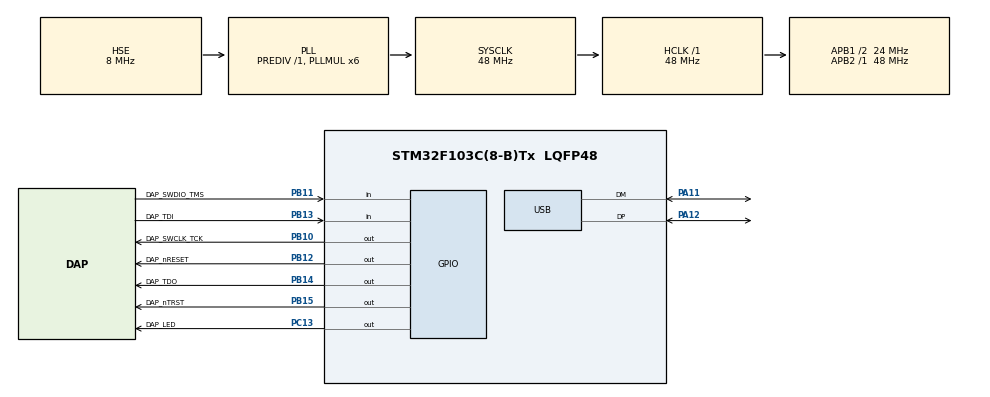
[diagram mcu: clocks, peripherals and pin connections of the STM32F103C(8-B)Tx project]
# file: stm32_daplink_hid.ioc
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Mcu.Family=STM32F1
Mcu.Name=STM32F103C(8-B)Tx
Mcu.Package=LQFP48
NVIC.PriorityGroup=NVIC_PRIORITYGROUP_4
NVIC.USB_LP_CAN1_RX0_IRQn=true\:0\:0\:false\:false\:true\:false\:true
PA11.Mode=Device
PA11.Signal=USB_DM
PA12.Mode=Device
PA12.Signal=USB_DP
PA13.Mode=Serial_Wire
PA13.Signal=SYS_JTMS-SWDIO
PA14.Mode=Serial_Wire
PA14.Signal=SYS_JTCK-SWCLK
PB10.GPIO_Label=DAP_SWCLK_TCK
PB10.Signal=GPIO_Output
PB11.GPIO_Label=DAP_SWDIO_TMS
PB11.Signal=GPIO_Input
PB12.GPIO_Label=DAP_nRESET
PB12.GPIO_ModeDefaultOutputPP=GPIO_MODE_OUTPUT_OD
PB12.Signal=GPIO_Output
PB13.GPIO_Label=DAP_TDI
PB13.Signal=GPIO_Input
PB14.GPIO_Label=DAP_TDO
PB14.Signal=GPIO_Output
PB15.GPIO_Label=DAP_nTRST
PB15.GPIO_ModeDefaultOutputPP=GPIO_MODE_OUTPUT_OD
PB15.Signal=GPIO_Output
PC13-TAMPER-RTC.GPIO_Label=DAP_LED
PC13-TAMPER-RTC.PinState=GPIO_PIN_SET
PC13-TAMPER-RTC.Signal=GPIO_Output
PD0-OSC_IN.Mode=HSE-External-Oscillator
PD0-OSC_IN.Signal=RCC_OSC_IN
PD1-OSC_OUT.Mode=HSE-External-Oscillator
PD1-OSC_OUT.Signal=RCC_OSC_OUT
ProjectManager.HeapSize=0x200
ProjectManager.StackSize=0x400
ProjectManager.TargetToolchain=Makefile
RCC.AHBFreq_Value=48000000
RCC.APB1CLKDivider=RCC_HCLK_DIV2
RCC.APB1Freq_Value=24000000
RCC.APB1TimFreq_Value=48000000
RCC.APB2Freq_Value=48000000
RCC.APB2TimFreq_Value=48000000
RCC.HCLKFreq_Value=48000000
RCC.PLLMUL=RCC_PLL_MUL6
RCC.SYSCLKFreq_VALUE=48000000
RCC.SYSCLKSource=RCC_SYSCLKSOURCE_PLLCLK
RCC.USBFreq_Value=48000000
USB_DEVICE.CLASS_NAME_FS=CUSTOM_HID
USB_DEVICE.VirtualMode=CustomHid
USB_DEVICE.VirtualModeFS=Custom_Hid_FS
VP_USB_DEVICE_VS_USB_DEVICE_CUSTOM_HID_FS.Mode=CUSTOM_HID_FS
board=custom

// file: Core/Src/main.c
/* USER CODE BEGIN Header */
/**
  ******************************************************************************
  * @file           : main.c
  * @brief          : Main program body
  ******************************************************************************
  * @attention
  *
  * <h2><center>&copy; Copyright (c) 2021 STMicroelectronics.
  * All rights reserved.</center></h2>
  *
  * This software component is licensed by ST under Ultimate Liberty license
  * SLA0044, the "License"; You may not use this file except in compliance with
  * the License. You may obtain a copy of the License at:
  *                             www.st.com/SLA0044
  *
  ******************************************************************************
  */
/* USER CODE END Header */
#include "main.h"
#include "usb_device.h"

/* USER CODE BEGIN Includes */
#include "DAP.h"
#include "DAP_config.h"
#include "usbd_custom_hid_if.h"
/* USER CODE END Includes */

/* USER CODE BEGIN PV */
static uint32_t CommonIndex;
static uint32_t ResponseIndexSend;
static uint32_t ResponsePendingCount;
volatile uint32_t RequestPendingCount;
extern USBD_HandleTypeDef hUsbDeviceFS;
extern volatile uint32_t RequestPauseProcessing;
uint8_t USB_DAP_Requests[DAP_PACKET_COUNT][DAP_PACKET_SIZE];
uint8_t USB_DAP_Responses[DAP_PACKET_COUNT][DAP_PACKET_SIZE];
/* USER CODE END PV */

void SystemClock_Config(void);
static void MX_GPIO_Init(void);

/* USER CODE BEGIN 0 */
static void Send_USB_DAP_Response(void);
/* USER CODE END 0 */

int main(void)
{
  /* USER CODE BEGIN 1 */
	uint32_t skip_sending_response;
  /* USER CODE END 1 */

  /* MCU Configuration--------------------------------------------------------*/

  /* Reset of all peripherals, Initializes the Flash interface and the Systick. */
  HAL_Init();

  /* Configure the system clock */
  SystemClock_Config();

  /* USER CODE BEGIN SysInit */
	CommonIndex = 0;
	ResponseIndexSend = 0;
	ResponsePendingCount = 0;
	RequestPendingCount = 0;
  /* USER CODE END SysInit */

  /* Initialize all configured peripherals */
  MX_GPIO_Init();
  MX_USB_DEVICE_Init();
  /* USER CODE BEGIN 2 */
	DAP_Setup();
  /* USER CODE END 2 */

  /* Infinite loop */
  /* USER CODE BEGIN WHILE */
  while (1)
  {
	  /* Cortex-M0 does not support synchronizing instructions.
	   * RequestPendingCount variable has a potential racing condition.
	   * Disabling interrupts while update is a choice.
	   * Systick interrupt will cause wakeup in case of out of sync between
	   * USB interrupt and WFI call here. */
	  if (RequestPendingCount == 0) {
		  __WFI();
	  }

	  while ((RequestPendingCount > 0) && (ResponsePendingCount < DAP_PACKET_COUNT)) {
		  if (USB_DAP_Requests[CommonIndex][0] == ID_DAP_QueueCommands) {
			  // Pause request processing until all queue commands are received.
			  if (RequestPauseProcessing)
				  break;

			  USB_DAP_Requests[CommonIndex][0] = ID_DAP_ExecuteCommands;

			  // Avoid sending usb response during processing queued commands.
			  skip_sending_response = 1;
		  } else {
			  skip_sending_response = 0;
		  }

		  DAP_ExecuteCommand(USB_DAP_Requests[CommonIndex], USB_DAP_Responses[CommonIndex]);

		  RequestPendingCount--;
		  ResponsePendingCount++;
		  CommonIndex++;
		  if (CommonIndex >= DAP_PACKET_COUNT) {
			  CommonIndex = 0;
		  }

		  if (skip_sending_response == 0)
			  Send_USB_DAP_Response();
	  }

	  if (ResponsePendingCount > 0) {
		  Send_USB_DAP_Response();
	  }
    /* USER CODE END WHILE */

  }
}

void SystemClock_Config(void)
{
  RCC_OscInitTypeDef RCC_OscInitStruct = {0};
  RCC_ClkInitTypeDef RCC_ClkInitStruct = {0};
  RCC_PeriphCLKInitTypeDef PeriphClkInit = {0};

  /** Initializes the RCC Oscillators according to the specified parameters
  * in the RCC_OscInitTypeDef structure.
  */
  RCC_OscInitStruct.OscillatorType = RCC_OSCILLATORTYPE_HSE;
  RCC_OscInitStruct.HSEState = RCC_HSE_ON;
  RCC_OscInitStruct.HSEPredivValue = RCC_HSE_PREDIV_DIV1;
  RCC_OscInitStruct.HSIState = RCC_HSI_ON;
  RCC_OscInitStruct.PLL.PLLState = RCC_PLL_ON;
  RCC_OscInitStruct.PLL.PLLSource = RCC_PLLSOURCE_HSE;
  RCC_OscInitStruct.PLL.PLLMUL = RCC_PLL_MUL6;
  if (HAL_RCC_OscConfig(&RCC_OscInitStruct) != HAL_OK)
  {
    Error_Handler();
  }
  /** Initializes the CPU, AHB and APB buses clocks
  */
  RCC_ClkInitStruct.ClockType = RCC_CLOCKTYPE_HCLK|RCC_CLOCKTYPE_SYSCLK
                              |RCC_CLOCKTYPE_PCLK1|RCC_CLOCKTYPE_PCLK2;
  RCC_ClkInitStruct.SYSCLKSource = RCC_SYSCLKSOURCE_PLLCLK;
  RCC_ClkInitStruct.AHBCLKDivider = RCC_SYSCLK_DIV1;
  RCC_ClkInitStruct.APB1CLKDivider = RCC_HCLK_DIV2;
  RCC_ClkInitStruct.APB2CLKDivider = RCC_HCLK_DIV1;

  if (HAL_RCC_ClockConfig(&RCC_ClkInitStruct, FLASH_LATENCY_1) != HAL_OK)
  {
    Error_Handler();
  }
  PeriphClkInit.PeriphClockSelection = RCC_PERIPHCLK_USB;
  PeriphClkInit.UsbClockSelection = RCC_USBCLKSOURCE_PLL;
  if (HAL_RCCEx_PeriphCLKConfig(&PeriphClkInit) != HAL_OK)
  {
    Error_Handler();
  }
}

static void MX_GPIO_Init(void)
{
  GPIO_InitTypeDef GPIO_InitStruct = {0};

  /* GPIO Ports Clock Enable */
  __HAL_RCC_GPIOC_CLK_ENABLE();
  __HAL_RCC_GPIOD_CLK_ENABLE();
  __HAL_RCC_GPIOA_CLK_ENABLE();
  __HAL_RCC_GPIOB_CLK_ENABLE();

  /*Configure GPIO pin Output Level */
  HAL_GPIO_WritePin(DAP_LED_GPIO_Port, DAP_LED_Pin, GPIO_PIN_SET);

  /*Configure GPIO pin Output Level */
  HAL_GPIO_WritePin(GPIOB, DAP_SWCLK_TCK_Pin|DAP_nRESET_Pin|DAP_TDO_Pin|DAP_nTRST_Pin, GPIO_PIN_RESET);

  /*Configure GPIO pin : DAP_LED_Pin */
  GPIO_InitStruct.Pin = DAP_LED_Pin;
  GPIO_InitStruct.Mode = GPIO_MODE_OUTPUT_PP;
  GPIO_InitStruct.Pull = GPIO_NOPULL;
  GPIO_InitStruct.Speed = GPIO_SPEED_FREQ_LOW;
  HAL_GPIO_Init(DAP_LED_GPIO_Port, &GPIO_InitStruct);

  /*Configure GPIO pins : PC14 PC15 */
  GPIO_InitStruct.Pin = GPIO_PIN_14|GPIO_PIN_15;
  GPIO_InitStruct.Mode = GPIO_MODE_ANALOG;
  HAL_GPIO_Init(GPIOC, &GPIO_InitStruct);

  /*Configure GPIO pins : PA0 PA1 PA2 PA3
                           PA4 PA5 PA6 PA7
                           PA8 PA9 PA10 PA15 */
  GPIO_InitStruct.Pin = GPIO_PIN_0|GPIO_PIN_1|GPIO_PIN_2|GPIO_PIN_3
                          |GPIO_PIN_4|GPIO_PIN_5|GPIO_PIN_6|GPIO_PIN_7
                          |GPIO_PIN_8|GPIO_PIN_9|GPIO_PIN_10|GPIO_PIN_15;
  GPIO_InitStruct.Mode = GPIO_MODE_ANALOG;
  HAL_GPIO_Init(GPIOA, &GPIO_InitStruct);

  /*Configure GPIO pins : PB0 PB1 PB2 PB3
                           PB4 PB5 PB6 PB7
                           PB8 PB9 */
  GPIO_InitStruct.Pin = GPIO_PIN_0|GPIO_PIN_1|GPIO_PIN_2|GPIO_PIN_3
                          |GPIO_PIN_4|GPIO_PIN_5|GPIO_PIN_6|GPIO_PIN_7
                          |GPIO_PIN_8|GPIO_PIN_9;
  GPIO_InitStruct.Mode = GPIO_MODE_ANALOG;
  HAL_GPIO_Init(GPIOB, &GPIO_InitStruct);

  /*Configure GPIO pins : DAP_SWCLK_TCK_Pin DAP_TDO_Pin */
  GPIO_InitStruct.Pin = DAP_SWCLK_TCK_Pin|DAP_TDO_Pin;
  GPIO_InitStruct.Mode = GPIO_MODE_OUTPUT_PP;
  GPIO_InitStruct.Pull = GPIO_NOPULL;
  GPIO_InitStruct.Speed = GPIO_SPEED_FREQ_LOW;
  HAL_GPIO_Init(GPIOB, &GPIO_InitStruct);

  /*Configure GPIO pins : DAP_SWDIO_TMS_Pin DAP_TDI_Pin */
  GPIO_InitStruct.Pin = DAP_SWDIO_TMS_Pin|DAP_TDI_Pin;
  GPIO_InitStruct.Mode = GPIO_MODE_INPUT;
  GPIO_InitStruct.Pull = GPIO_NOPULL;
  HAL_GPIO_Init(GPIOB, &GPIO_InitStruct);

  /*Configure GPIO pins : DAP_nRESET_Pin DAP_nTRST_Pin */
  GPIO_InitStruct.Pin = DAP_nRESET_Pin|DAP_nTRST_Pin;
  GPIO_InitStruct.Mode = GPIO_MODE_OUTPUT_OD;
  GPIO_InitStruct.Pull = GPIO_NOPULL;
  GPIO_InitStruct.Speed = GPIO_SPEED_FREQ_LOW;
  HAL_GPIO_Init(GPIOB, &GPIO_InitStruct);

}

/* USER CODE BEGIN 4 */
void Send_USB_DAP_Response(void) {
	USBD_CUSTOM_HID_HandleTypeDef *hhid = (USBD_CUSTOM_HID_HandleTypeDef*)hUsbDeviceFS.pClassData;
	if (hhid->state == CUSTOM_HID_IDLE) {
		USBD_CUSTOM_HID_SendReport(&hUsbDeviceFS, USB_DAP_Responses[ResponseIndexSend], DAP_PACKET_SIZE);
		ResponseIndexSend++;
		if (ResponseIndexSend >= DAP_PACKET_COUNT) {
			ResponseIndexSend = 0;
		}
		ResponsePendingCount--;
	}
}
/* USER CODE END 4 */

void Error_Handler(void)
{
  __disable_irq();
  while (1)
  {
  }
}

/************************ (C) COPYRIGHT STMicroelectronics *****END OF FILE****/
